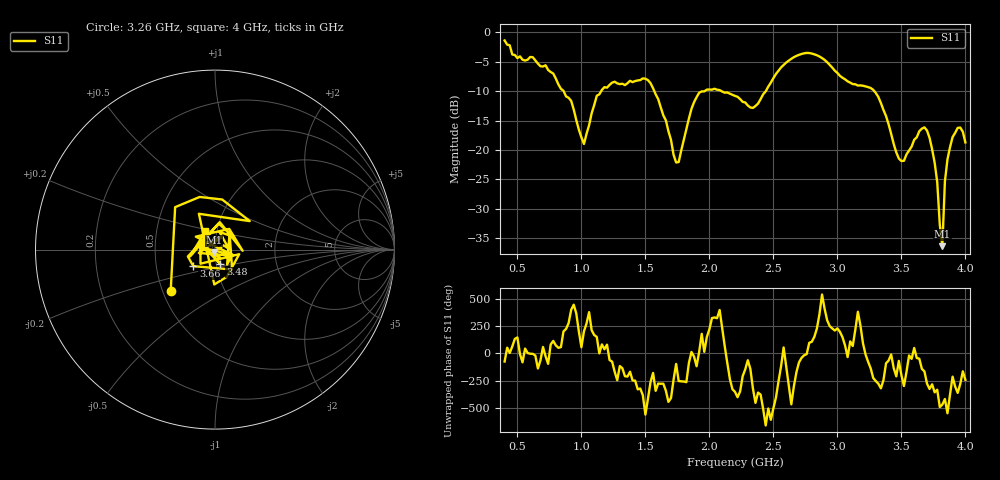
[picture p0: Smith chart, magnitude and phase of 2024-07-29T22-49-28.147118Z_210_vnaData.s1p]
!Created with skrf (http://scikit-rf.org).
# Hz S RI R 50.0
!freq ReS11 ImS11
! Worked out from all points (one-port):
!   181 points, 400 MHz to 4 GHz, reference 50 ohm
!   lowest |S11| = -36.3 dB at 3.82 GHz (marker M1), VSWR 1.03, Z = 49.5 - j1.43 ohm
!   |S11| at or under -10 dB: 1.57 GHz to 1.962 GHz (392.6 MHz wide, 22.2 % of centre); 2.095 GHz to 2.441 GHz (345.8 MHz wide, 15.2 % of centre); 3.289 GHz to end of sweep (the widest 3 of 4)
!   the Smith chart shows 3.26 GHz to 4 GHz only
!   S11 on the Smith chart (normalised r, x): 3.26 GHz: 0.55, -0.28; 3.48 GHz: 1.05, -0.17; 3.66 GHz: 0.77, -0.15; 4 GHz: 0.88, +0.18
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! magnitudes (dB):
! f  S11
! 400 MHz  -1.4
! 720 MHz  -5.6
! 860 MHz  -9.9
! 920 MHz  -11.6
! 1.02 GHz  -19.0
! 1.12 GHz  -10.8
! 1.3 GHz  -8.8
! 1.54 GHz  -8.6
! 1.76 GHz  -22.0
! 1.86 GHz  -13.0
! 1.92 GHz  -10.3
! 2.2 GHz  -10.8
! 2.34 GHz  -12.8
! 2.66 GHz  -4.2
! 2.84 GHz  -3.9
! 3.1 GHz  -8.6
! 3.26 GHz  -9.5
! 3.34 GHz  -12.0
! 3.48 GHz  -21.4
! 3.56 GHz  -20.1
! 3.66 GHz  -16.4
! 3.7 GHz  -16.7
! 3.76 GHz  -22.2
! 3.82 GHz  -36.3
! 3.84 GHz  -25.3
! 3.88 GHz  -19.5
! 3.94 GHz  -16.2
! 4 GHz  -18.7
